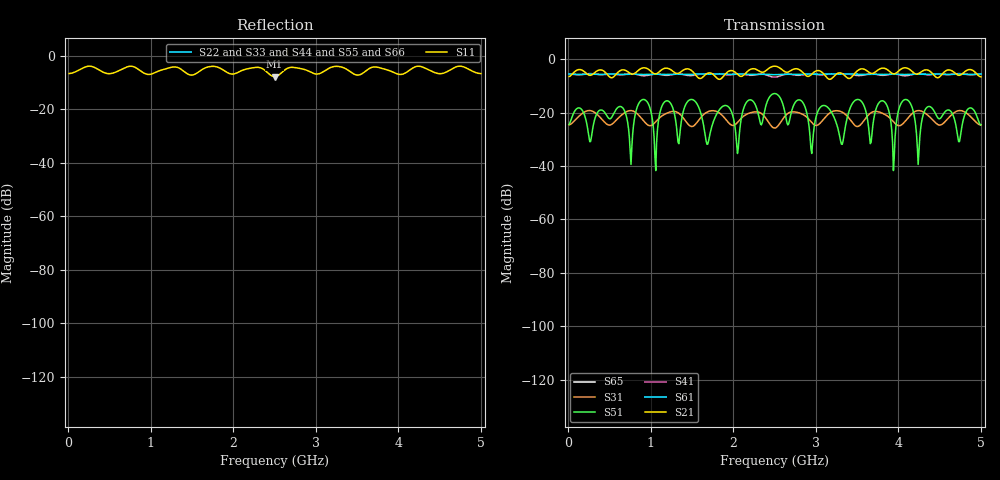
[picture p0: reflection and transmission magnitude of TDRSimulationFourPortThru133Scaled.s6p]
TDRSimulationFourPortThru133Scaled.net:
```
device T1 2 tline zc 60.0 td 5e-10
device T2 2 tline zc 55.0 td 1e-09
device D9 2 voltageamplifier gain 1.0 zi 100000000.0 zo 40.0
device T9 2 tline zc 60.0 td 3e-10
device D21 2 voltageamplifier gain 1.0 zi 100000000.0 zo 45.0
device T17 2 tline zc 45.0 td 1.2e-09
voltagesource VG3 1
device R3 1 R 50.0
device D15 3 directionalcoupler
device D16 3 directionalcoupler
device R4 1 R 50.0
device R7 1 R 50.0
device D19 3 directionalcoupler
device D20 3 directionalcoupler
device R8 1 R 50.0
device T5 2 tline zc 50.0 td 1e-10
device G1 1 ground
connect D16 1 T1 1
connect T1 2 T5 1
output D15 1
connect D15 1 T2 2
connect T2 1 D9 2
connect D9 1 G1 1
connect D19 1 T9 1
connect T5 2 T9 2
output D20 1
connect D20 1 T17 2
connect VG3 1 D21 1
connect D21 2 T17 1
output R3 1
connect R3 1 D15 3
connect D16 2 D15 2
output D16 3
connect D16 3 R4 1
output R7 1
connect R7 1 D19 3
connect D19 2 D20 2
output D20 3
connect D20 3 R8 1
```
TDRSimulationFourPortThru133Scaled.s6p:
# MHz MA S R 50.0
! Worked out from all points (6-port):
!   500 points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, 10 MHz to 5 GHz, reference 50 ohm
!   strongest paths, dB at 10 MHz, 1.26 GHz, 2.51 GHz, 3.76 GHz, 5 GHz:
!     S21: -6.5, -4.3, -2.6, -3.9, -6.5
!     S61: -5.5, -5.6, -5.8, -5.7, -5.5
!     S41: -5.5, -5.7, -6.7, -5.9, -5.5
!     S51: -24.4, -17.7, -12.9, -16.5, -24.6
!     S31: -24.6, -19.6, -25.7, -19.7, -24.6
!     S65: -, -, -, -, -
!   lowest |S11| = -7.7 dB at 2.5 GHz (marker M1), VSWR 2.40, Z = 35.5 - j35.2 ohm
!   |S11| at or under -10 dB: nowhere
